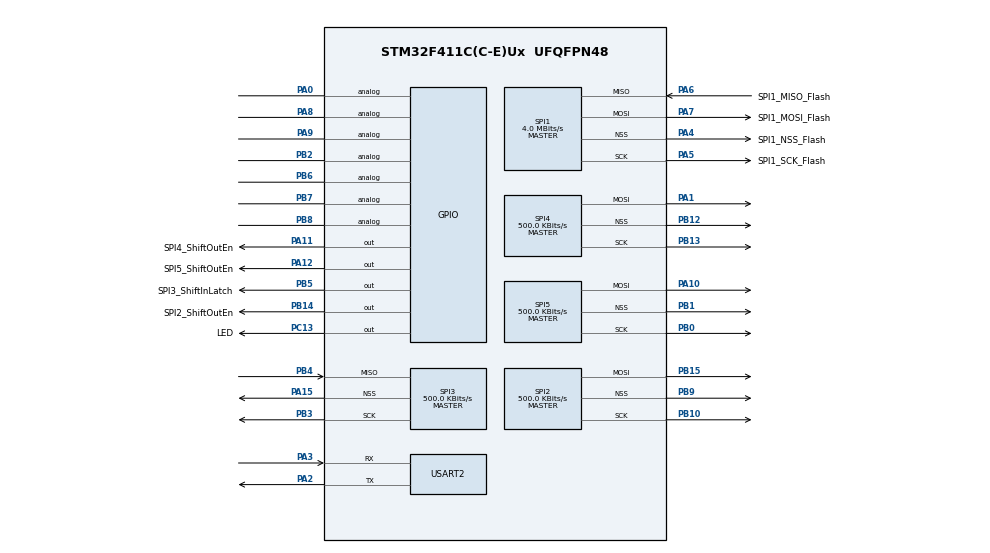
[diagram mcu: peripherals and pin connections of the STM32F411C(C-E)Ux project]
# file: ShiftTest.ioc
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Mcu.Family=STM32F4
Mcu.Name=STM32F411C(C-E)Ux
Mcu.Package=UFQFPN48
NVIC.PriorityGroup=NVIC_PRIORITYGROUP_4
NVIC.SPI1_IRQn=true\:1\:0\:true\:false\:true\:true\:true\:true
NVIC.SPI2_IRQn=true\:2\:0\:true\:false\:true\:true\:true\:true
NVIC.SPI3_IRQn=true\:2\:0\:true\:false\:true\:true\:true\:true
NVIC.SPI4_IRQn=true\:2\:0\:true\:false\:true\:true\:true\:true
NVIC.SPI5_IRQn=true\:2\:0\:true\:false\:true\:true\:true\:true
NVIC.USART2_IRQn=true\:1\:0\:true\:false\:true\:true\:true\:true
PA0-WKUP.Signal=GPIO_Analog
PA1.Mode=TX_Only_Simplex_Unidirect_Master
PA1.Signal=SPI4_MOSI
PA10.Mode=TX_Only_Simplex_Unidirect_Master
PA10.Signal=SPI5_MOSI
PA11.GPIO_Label=SPI4_ShiftOutEn
PA11.GPIO_PuPd=GPIO_PULLUP
PA11.Signal=GPIO_Output
PA12.GPIO_Label=SPI5_ShiftOutEn
PA12.GPIO_PuPd=GPIO_PULLUP
PA12.Signal=GPIO_Output
PA13.Mode=Serial_Wire
PA13.Signal=SYS_JTMS-SWDIO
PA14.Mode=Serial_Wire
PA14.Signal=SYS_JTCK-SWCLK
PA15.Mode=NSS_Signal_Hard_Output
PA15.Signal=SPI3_NSS
PA2.Mode=Asynchronous
PA2.Signal=USART2_TX
PA3.Mode=Asynchronous
PA3.Signal=USART2_RX
PA4.GPIO_Label=SPI1_NSS_Flash
PA4.Mode=NSS_Signal_Hard_Output
PA4.Signal=SPI1_NSS
PA5.GPIO_Label=SPI1_SCK_Flash
PA5.Mode=Full_Duplex_Master
PA5.Signal=SPI1_SCK
PA6.GPIO_Label=SPI1_MISO_Flash
PA6.Mode=Full_Duplex_Master
PA6.Signal=SPI1_MISO
PA7.GPIO_Label=SPI1_MOSI_Flash
PA7.Mode=Full_Duplex_Master
PA7.Signal=SPI1_MOSI
PA8.Signal=GPIO_Analog
PA9.Signal=GPIO_Analog
PB0.Mode=TX_Only_Simplex_Unidirect_Master
PB0.Signal=SPI5_SCK
PB1.Mode=NSS_Signal_Hard_Output
PB1.Signal=SPI5_NSS
PB10.Mode=TX_Only_Simplex_Unidirect_Master
PB10.Signal=SPI2_SCK
PB12.Mode=NSS_Signal_Hard_Output
PB12.Signal=SPI4_NSS
PB13.Mode=TX_Only_Simplex_Unidirect_Master
PB13.Signal=SPI4_SCK
PB14.GPIO_Label=SPI2_ShiftOutEn
PB14.GPIO_PuPd=GPIO_PULLUP
PB14.Signal=GPIO_Output
PB15.Mode=TX_Only_Simplex_Unidirect_Master
PB15.Signal=SPI2_MOSI
PB2.Signal=GPIO_Analog
PB3.Mode=RX_Only_Simplex_Unidirect_Master
PB3.Signal=SPI3_SCK
PB4.Mode=RX_Only_Simplex_Unidirect_Master
PB4.Signal=SPI3_MISO
PB5.GPIO_Label=SPI3_ShiftInLatch
PB5.GPIO_PuPd=GPIO_PULLUP
PB5.Signal=GPIO_Output
PB6.Signal=GPIO_Analog
PB7.Signal=GPIO_Analog
PB8.Signal=GPIO_Analog
PB9.Mode=NSS_Signal_Hard_Output
PB9.Signal=SPI2_NSS
PC13-ANTI_TAMP.GPIO_Label=LED
PC13-ANTI_TAMP.GPIO_ModeDefaultOutputPP=GPIO_MODE_OUTPUT_OD
PC13-ANTI_TAMP.GPIO_PuPd=GPIO_NOPULL
PC13-ANTI_TAMP.Signal=GPIO_Output
PC14-OSC32_IN.Mode=LSE-External-Oscillator
PC14-OSC32_IN.Signal=RCC_OSC32_IN
PC15-OSC32_OUT.Mode=LSE-External-Oscillator
PC15-OSC32_OUT.Signal=RCC_OSC32_OUT
PH0\ -\ OSC_IN.Mode=HSE-External-Oscillator
PH0\ -\ OSC_IN.Signal=RCC_OSC_IN
PH1\ -\ OSC_OUT.Mode=HSE-External-Oscillator
PH1\ -\ OSC_OUT.Signal=RCC_OSC_OUT
ProjectManager.HeapSize=0x200
ProjectManager.StackSize=0x400
ProjectManager.TargetToolchain=STM32CubeIDE
RCC.48MHZClocksFreq_Value=32000000
RCC.AHBFreq_Value=64000000
RCC.APB1CLKDivider=RCC_HCLK_DIV2
RCC.APB1Freq_Value=32000000
RCC.APB1TimFreq_Value=64000000
RCC.APB2Freq_Value=64000000
RCC.APB2TimFreq_Value=64000000
RCC.CortexFreq_Value=64000000
RCC.FLatency=FLASH_LATENCY_3
RCC.HCLKFreq_Value=64000000
RCC.HSE_Timout=250
RCC.HSE_VALUE=25000000
RCC.HSI_VALUE=16000000
RCC.PLLM=25
RCC.PLLN=128
RCC.PLLSourceVirtual=RCC_PLLSOURCE_HSE
RCC.PWR_Regulator_Voltage_Scale=PWR_REGULATOR_VOLTAGE_SCALE3
RCC.RCC_TIM_PRescaler_Selection=RCC_TIMPRES_DESACTIVATED
RCC.SYSCLKFreq_VALUE=64000000
RCC.SYSCLKSource=RCC_SYSCLKSOURCE_PLLCLK
RCC.VCOOutputFreq_Value=128000000
SPI1.BaudRatePrescaler=SPI_BAUDRATEPRESCALER_16
SPI1.CLKPhase=SPI_PHASE_2EDGE
SPI1.CLKPolarity=SPI_POLARITY_HIGH
SPI1.CalculateBaudRate=4.0 MBits/s
SPI1.Direction=SPI_DIRECTION_2LINES
SPI1.Mode=SPI_MODE_MASTER
SPI1.VirtualNSS=VM_NSSHARD
SPI1.VirtualType=VM_MASTER
SPI2.BaudRatePrescaler=SPI_BAUDRATEPRESCALER_64
SPI2.CLKPhase=SPI_PHASE_2EDGE
SPI2.CLKPolarity=SPI_POLARITY_HIGH
SPI2.CalculateBaudRate=500.0 KBits/s
SPI2.Direction=SPI_DIRECTION_2LINES
SPI2.Mode=SPI_MODE_MASTER
SPI2.VirtualNSS=VM_NSSHARD
SPI2.VirtualType=VM_MASTER
SPI3.BaudRatePrescaler=SPI_BAUDRATEPRESCALER_64
SPI3.CLKPhase=SPI_PHASE_2EDGE
SPI3.CLKPolarity=SPI_POLARITY_HIGH
SPI3.CalculateBaudRate=500.0 KBits/s
SPI3.Direction=SPI_DIRECTION_2LINES_RXONLY
SPI3.Mode=SPI_MODE_MASTER
SPI3.VirtualNSS=VM_NSSHARD
SPI3.VirtualType=VM_MASTER
SPI4.BaudRatePrescaler=SPI_BAUDRATEPRESCALER_128
SPI4.CLKPhase=SPI_PHASE_2EDGE
SPI4.CLKPolarity=SPI_POLARITY_HIGH
SPI4.CalculateBaudRate=500.0 KBits/s
SPI4.Direction=SPI_DIRECTION_2LINES
SPI4.Mode=SPI_MODE_MASTER
SPI4.VirtualNSS=VM_NSSHARD
SPI4.VirtualType=VM_MASTER
SPI5.BaudRatePrescaler=SPI_BAUDRATEPRESCALER_128
SPI5.CLKPhase=SPI_PHASE_2EDGE
SPI5.CLKPolarity=SPI_POLARITY_HIGH
SPI5.CalculateBaudRate=500.0 KBits/s
SPI5.Direction=SPI_DIRECTION_2LINES
SPI5.Mode=SPI_MODE_MASTER
SPI5.VirtualNSS=VM_NSSHARD
SPI5.VirtualType=VM_MASTER
USART2.VirtualMode=VM_ASYNC
VP_CRC_VS_CRC.Mode=CRC_Activate
board=custom

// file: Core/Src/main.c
/* USER CODE BEGIN Header */
/**
  ******************************************************************************
  * @file           : main.c
  * @brief          : Main program body
  ******************************************************************************
  * @attention
  *
  * Copyright (c) 2023 STMicroelectronics.
  * All rights reserved.
  *
  * This software is licensed under terms that can be found in the LICENSE file
  * in the root directory of this software component.
  * If no LICENSE file comes with this software, it is provided AS-IS.
  *
  ******************************************************************************
  */
/* USER CODE END Header */
#include "main.h"
#include "crc.h"
#include "spi.h"
#include "usart.h"
#include "gpio.h"

/* USER CODE BEGIN Includes */
#include "ShiftRegister.h"
/* USER CODE END Includes */

/* USER CODE BEGIN PV */
uint32_t mainTick = 0;
uint32_t lastTick;
uint32_t dt = 100;

uint8_t dbIn[5];
ShiftIn_t Input_Bus = {	.SPIbus = SPI3,
												.status = PORT_FREE,
												.inputPort = SPI3_ShiftInLatch_GPIO_Port,
												.inputPin = SPI3_ShiftInLatch_Pin,
												.data = dbIn,
												.ind = 0,
												.len = 5	};

ShiftOut_t Output1_Bus = {	.SPIbus = SPI2,
                          	.status = PORT_FREE,
                          	.outputPort = SPI2_ShiftOutEn_GPIO_Port,
                          	.outputPin = SPI2_ShiftOutEn_Pin,
                          	.data = dbIn,
                          	.ind = 0,
                          	.len = 1	};

ShiftOut_t Output2_Bus = {	.SPIbus = SPI4,
                          	.status = PORT_FREE,
                          	.outputPort = SPI4_ShiftOutEn_GPIO_Port,
                          	.outputPin = SPI4_ShiftOutEn_Pin,
                          	.data = dbIn,
                          	.ind = 0,
                          	.len = 2	};

ShiftOut_t Output3_Bus = {	.SPIbus = SPI5,
                          	.status = PORT_FREE,
                          	.outputPort = SPI5_ShiftOutEn_GPIO_Port,
                          	.outputPin = SPI5_ShiftOutEn_Pin,
                          	.data = dbIn,
                          	.ind = 0,
                          	.len = 2	};

/* USER CODE END PV */

void SystemClock_Config(void);

int main(void)
{

  /* MCU Configuration--------------------------------------------------------*/

  /* Reset of all peripherals, Initializes the Flash interface and the Systick. */
  LL_APB2_GRP1_EnableClock(LL_APB2_GRP1_PERIPH_SYSCFG);
  LL_APB1_GRP1_EnableClock(LL_APB1_GRP1_PERIPH_PWR);

  /* System interrupt init*/
  NVIC_SetPriorityGrouping(NVIC_PRIORITYGROUP_4);

  /* SysTick_IRQn interrupt configuration */
  NVIC_SetPriority(SysTick_IRQn, NVIC_EncodePriority(NVIC_GetPriorityGrouping(),15, 0));

  /* Configure the system clock */
  SystemClock_Config();

  /* Initialize all configured peripherals */
  MX_GPIO_Init();
  MX_CRC_Init();
  MX_USART2_UART_Init();
  MX_SPI1_Init();
  MX_SPI2_Init();
  MX_SPI3_Init();
  MX_SPI4_Init();
  MX_SPI5_Init();
  /* USER CODE BEGIN 2 */
  SysTick_Config(SystemCoreClock / 1000);  //1ms tick
  /* USER CODE END 2 */

  /* Infinite loop */
  /* USER CODE BEGIN WHILE */
  while (1)
  {
  	if ((mainTick - lastTick) > dt) {
  		Output1_Bus.len = 5;
  		Input_Bus.len = 5;
			ShiftIn_Start(&Input_Bus);
			ShiftOut_Start(&Output1_Bus);
			LL_GPIO_TogglePin(LED_GPIO_Port, LED_Pin);
			lastTick = mainTick;
		}
    /* USER CODE END WHILE */

  }
}

void SystemClock_Config(void)
{
  LL_FLASH_SetLatency(LL_FLASH_LATENCY_3);
  while(LL_FLASH_GetLatency()!= LL_FLASH_LATENCY_3)
  {
  }
  LL_PWR_SetRegulVoltageScaling(LL_PWR_REGU_VOLTAGE_SCALE3);
  while (LL_PWR_IsActiveFlag_VOS() == 0)
  {
  }
  LL_RCC_HSE_Enable();

   /* Wait till HSE is ready */
  while(LL_RCC_HSE_IsReady() != 1)
  {

  }
  LL_RCC_PLL_ConfigDomain_SYS(LL_RCC_PLLSOURCE_HSE, LL_RCC_PLLM_DIV_25, 128, LL_RCC_PLLP_DIV_2);
  LL_RCC_PLL_Enable();

   /* Wait till PLL is ready */
  while(LL_RCC_PLL_IsReady() != 1)
  {

  }
  LL_RCC_SetAHBPrescaler(LL_RCC_SYSCLK_DIV_1);
  LL_RCC_SetAPB1Prescaler(LL_RCC_APB1_DIV_2);
  LL_RCC_SetAPB2Prescaler(LL_RCC_APB2_DIV_1);
  LL_RCC_SetSysClkSource(LL_RCC_SYS_CLKSOURCE_PLL);

   /* Wait till System clock is ready */
  while(LL_RCC_GetSysClkSource() != LL_RCC_SYS_CLKSOURCE_STATUS_PLL)
  {

  }
  LL_Init1msTick(64000000);
  LL_SetSystemCoreClock(64000000);
  LL_RCC_SetTIMPrescaler(LL_RCC_TIM_PRESCALER_TWICE);
}

void Error_Handler(void)
{
  __disable_irq();
  while (1)
  {
  }
}
